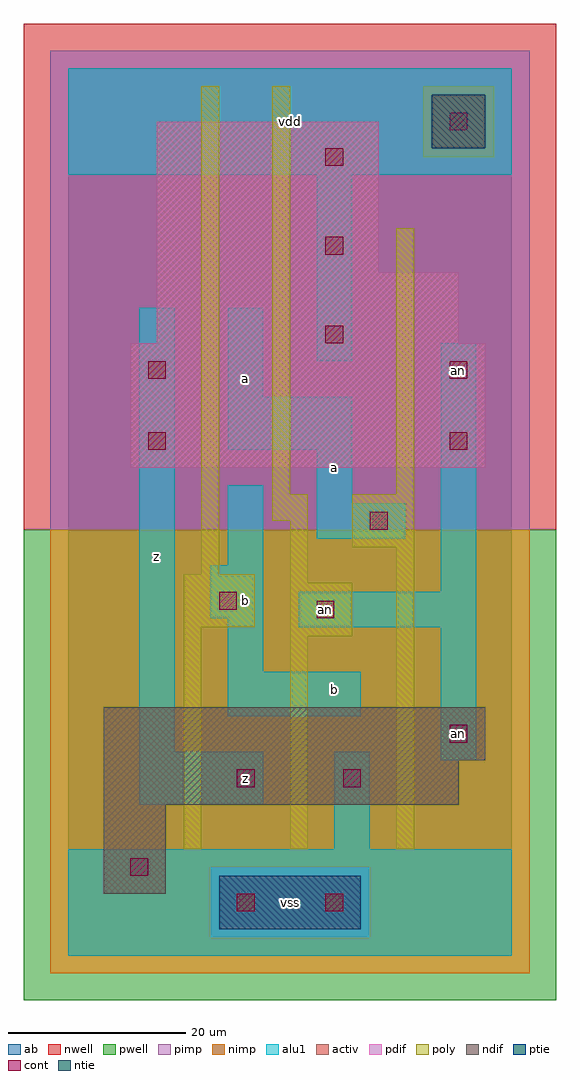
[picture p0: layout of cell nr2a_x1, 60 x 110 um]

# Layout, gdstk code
import gdstk
lib = gdstk.Library(unit=1e-6, precision=1e-09)
def R(c, l, rs):  # rectangles x0, y0, x1, y1
    for r in rs: c.add(gdstk.rectangle(r[:2], r[2:], *l))
def A(c, l, x, y, w, h, nx, ny, dx, dy):  # array of equal rectangles
    R(c, l, [(x+i*dx, y+j*dy, x+i*dx+w, y+j*dy+h) for i in range(nx) for j in range(ny)])
ndif = (3, 0)
pdif = (4, 0)
ntie = (5, 0)
ptie = (6, 0)
cont = (25, 0)
pwell = (41, 0)
nwell = (42, 0)
activ = (43, 0)
pimp = (44, 0)
nimp = (45, 0)
poly = (46, 0)
alu1 = (49, 0)
ab = (63, 0)

nr2a_x1 = lib.new_cell('nr2a_x1')
R(nr2a_x1, ndif, [(4,7,11,17), (4,17,44,22), (4,22,47,28)])
R(nr2a_x1, pdif, [(7,55,47,69), (10,69,44,77), (10,77,35,94)])
R(nr2a_x1, ntie, [(41,91,47,97)])
R(nr2a_x1, ptie, [(17,3,33,9)])
A(nr2a_x1, cont, 29, 69, 2, 2, 1, 3, 0, 10)
R(nr2a_x1, cont, [(19,5,21,7), (29,5,31,7), (7,9,9,11), (19,19,21,21), (31,19,33,21), (43,24,45,26), (28,38,30,40), (17,39,19,41), (34,48,36,50), (9,57,11,59), (43,57,45,59), (9,65,11,67), (43,65,45,67), (43,93,45,95)])
R(nr2a_x1, pwell, [(-5,-5,55,48)])
R(nr2a_x1, nwell, [(-5,48,55,105)])
R(nr2a_x1, activ, [(17,3,33,9), (4,7,11,17), (4,17,44,22), (4,22,47,28), (7,55,47,69), (10,69,44,77), (10,77,35,94), (41,91,47,97)])
R(nr2a_x1, pimp, [(16,2,34,10), (-2,48,52,90), (-2,90,40,98), (48,90,52,98), (-2,98,52,102)])
R(nr2a_x1, nimp, [(-2,-2,52,2), (-2,2,16,10), (34,2,52,10), (-2,10,52,48), (40,90,48,98)])
R(nr2a_x1, poly, [(13,12,15,37), (25,12,27,36), (37,12,39,46), (25,36,32,42), (13,37,21,43), (25,42,27,49), (15,43,17,98), (32,46,39,52), (23,49,27,52), (23,52,25,98), (37,52,39,82)])
R(nr2a_x1, alu1, [(0,0,50,12), (30,12,34,23), (8,17,22,23), (42,22,46,37), (8,23,12,73), (18,27,33,32), (18,32,22,38), (26,37,46,41), (16,38,22,44), (42,41,46,69), (18,44,22,53), (28,47,38,51), (28,51,32,57), (18,57,32,63), (18,63,22,73), (28,67,32,88), (0,88,50,100)])
R(nr2a_x1, ab, [(0,0,50,100)])
nr2a_x1.add(gdstk.Label('an', (29,39), layer=49, texttype=0))
nr2a_x1.add(gdstk.Label('an', (44,25), layer=49, texttype=0))
nr2a_x1.add(gdstk.Label('an', (44,66), layer=49, texttype=0))
nr2a_x1.add(gdstk.Label('z', (20,20), layer=49, texttype=0))
nr2a_x1.add(gdstk.Label('z', (10,45), layer=49, texttype=0))
nr2a_x1.add(gdstk.Label('b', (20,40), layer=49, texttype=0))
nr2a_x1.add(gdstk.Label('a', (20,65), layer=49, texttype=0))
nr2a_x1.add(gdstk.Label('vss', (25,6), layer=49, texttype=0))
nr2a_x1.add(gdstk.Label('b', (30,30), layer=49, texttype=0))
nr2a_x1.add(gdstk.Label('a', (30,55), layer=49, texttype=0))
nr2a_x1.add(gdstk.Label('vdd', (25,94), layer=49, texttype=0))

lib.write_gds('nr2a_x1.gds')
